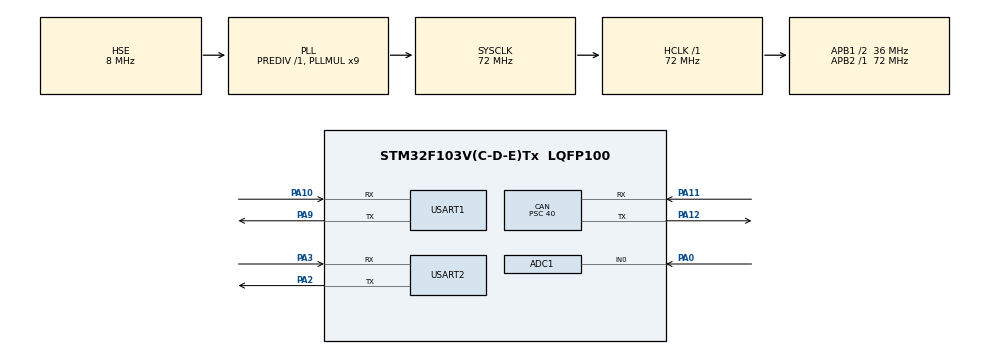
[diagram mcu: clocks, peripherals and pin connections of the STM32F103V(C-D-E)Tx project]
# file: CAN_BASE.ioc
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ADC1.Channel-0\#ChannelRegularConversion=ADC_CHANNEL_0
ADC1.Channel-1\#ChannelRegularConversion=ADC_CHANNEL_0
ADC1.NbrOfConversion=2
ADC1.NbrOfConversionFlag=1
ADC1.Rank-0\#ChannelRegularConversion=1
ADC1.Rank-1\#ChannelRegularConversion=2
ADC1.SamplingTime-0\#ChannelRegularConversion=ADC_SAMPLETIME_1CYCLE_5
ADC1.SamplingTime-1\#ChannelRegularConversion=ADC_SAMPLETIME_1CYCLE_5
ADC1.master=1
CAN.ABOM=ENABLE
CAN.BS1=CAN_BS1_6TQ
CAN.BS2=CAN_BS2_2TQ
CAN.CalculateTimeBit=10000
CAN.CalculateTimeQuantum=1111.111111111111
CAN.Prescaler=40
Mcu.Family=STM32F1
Mcu.Name=STM32F103V(C-D-E)Tx
Mcu.Package=LQFP100
NVIC.PriorityGroup=NVIC_PRIORITYGROUP_4
NVIC.TIM2_IRQn=true\:0\:0\:false\:false\:true\:true\:true
NVIC.USART1_IRQn=true\:0\:0\:false\:false\:true\:true\:true
NVIC.USART2_IRQn=true\:0\:0\:false\:false\:true\:true\:true
NVIC.USB_LP_CAN1_RX0_IRQn=true\:0\:0\:false\:false\:true\:true\:true
OSC_IN.Mode=HSE-External-Oscillator
OSC_IN.Signal=RCC_OSC_IN
OSC_OUT.Mode=HSE-External-Oscillator
OSC_OUT.Signal=RCC_OSC_OUT
PA0-WKUP.Signal=ADCx_IN0
PA10.Mode=Asynchronous
PA10.Signal=USART1_RX
PA11.Mode=Master
PA11.Signal=CAN_RX
PA12.Mode=Master
PA12.Signal=CAN_TX
PA13.Mode=Serial_Wire
PA13.Signal=SYS_JTMS-SWDIO
PA14.Mode=Serial_Wire
PA14.Signal=SYS_JTCK-SWCLK
PA2.Mode=Asynchronous
PA2.Signal=USART2_TX
PA3.Mode=Asynchronous
PA3.Signal=USART2_RX
PA9.Mode=Asynchronous
PA9.Signal=USART1_TX
PC14-OSC32_IN.Mode=LSE-External-Oscillator
PC14-OSC32_IN.Signal=RCC_OSC32_IN
PC15-OSC32_OUT.Mode=LSE-External-Oscillator
PC15-OSC32_OUT.Signal=RCC_OSC32_OUT
ProjectManager.HeapSize=0x200
ProjectManager.StackSize=0x1000
ProjectManager.TargetToolchain=MDK-ARM V5
RCC.ADCPresc=RCC_ADCPCLK2_DIV6
RCC.AHBFreq_Value=72000000
RCC.APB1CLKDivider=RCC_HCLK_DIV2
RCC.APB1Freq_Value=36000000
RCC.APB1TimFreq_Value=72000000
RCC.APB2Freq_Value=72000000
RCC.APB2TimFreq_Value=72000000
RCC.HCLKFreq_Value=72000000
RCC.PLLMUL=RCC_PLL_MUL9
RCC.PLLSourceVirtual=RCC_PLLSOURCE_HSE
RCC.SYSCLKFreq_VALUE=72000000
RCC.SYSCLKSource=RCC_SYSCLKSOURCE_PLLCLK
RCC.USBFreq_Value=72000000
SH.ADCx_IN0.0=ADC1_IN0,IN0
TIM2.Period=1151
TIM2.Prescaler=15999
USART1.VirtualMode=VM_ASYNC
USART2.VirtualMode=VM_ASYNC
VP_TIM2_VS_ClockSourceINT.Mode=Internal
board=custom

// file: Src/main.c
/* USER CODE BEGIN Header */
/**
  ******************************************************************************
  * @file           : main.c
  * @brief          : Main program body
  ******************************************************************************
  ** This notice applies to any and all portions of this file
  * that are not between comment pairs USER CODE BEGIN and
  * USER CODE END. Other portions of this file, whether
  * inserted by the user or by software development tools
  * are owned by their respective copyright owners.
  *
  * COPYRIGHT(c) 2019 STMicroelectronics
  *
  * Redistribution and use in source and binary forms, with or without modification,
  * are permitted provided that the following conditions are met:
  *   1. Redistributions of source code must retain the above copyright notice,
  *      this list of conditions and the following disclaimer.
  *   2. Redistributions in binary form must reproduce the above copyright notice,
  *      this list of conditions and the following disclaimer in the documentation
  *      and/or other materials provided with the distribution.
  *   3. Neither the name of STMicroelectronics nor the names of its contributors
  *      may be used to endorse or promote products derived from this software
  *      without specific prior written permission.
  *
  * THIS SOFTWARE IS PROVIDED BY THE COPYRIGHT HOLDERS AND CONTRIBUTORS "AS IS"
  * AND ANY EXPRESS OR IMPLIED WARRANTIES, INCLUDING, BUT NOT LIMITED TO, THE
  * IMPLIED WARRANTIES OF MERCHANTABILITY AND FITNESS FOR A PARTICULAR PURPOSE ARE
  * DISCLAIMED. IN NO EVENT SHALL THE COPYRIGHT HOLDER OR CONTRIBUTORS BE LIABLE
  * FOR ANY DIRECT, INDIRECT, INCIDENTAL, SPECIAL, EXEMPLARY, OR CONSEQUENTIAL
  * DAMAGES (INCLUDING, BUT NOT LIMITED TO, PROCUREMENT OF SUBSTITUTE GOODS OR
  * SERVICES; LOSS OF USE, DATA, OR PROFITS; OR BUSINESS INTERRUPTION) HOWEVER
  * CAUSED AND ON ANY THEORY OF LIABILITY, WHETHER IN CONTRACT, STRICT LIABILITY,
  * OR TORT (INCLUDING NEGLIGENCE OR OTHERWISE) ARISING IN ANY WAY OUT OF THE USE
  * OF THIS SOFTWARE, EVEN IF ADVISED OF THE POSSIBILITY OF SUCH DAMAGE.
  *
  ******************************************************************************
  */
/* USER CODE END Header */

#include "main.h"

/* USER CODE BEGIN Includes */
#include "user.h"
/* USER CODE END Includes */

ADC_HandleTypeDef hadc1;

CAN_HandleTypeDef hcan;
CAN_HandleTypeDef  hcan1;

TIM_HandleTypeDef htim2;

UART_HandleTypeDef huart1;
UART_HandleTypeDef huart2;

/* USER CODE BEGIN PV */
uint16_t vol=0;
float sensor_hum = 0; //湿度
float sensor_tem = 0; //温度
uint8_t  switching=0;
uint8_t  sensor_number=0;
uint16_t send_count=0;
uint16_t Can_STD_ID=0x06;
uint8_t  flag_send_data=0;
uint8_t Can_data[8]={0};
/* USER CODE END PV */

void SystemClock_Config(void);
static void MX_GPIO_Init(void);
static void MX_CAN_Init(void);
static void MX_ADC1_Init(void);
static void MX_USART1_UART_Init(void);
static void MX_USART2_UART_Init(void);
static void MX_TIM2_Init(void);

int main(void)
{

  /* MCU Configuration--------------------------------------------------------*/

  /* Reset of all peripherals, Initializes the Flash interface and the Systick. */
  HAL_Init();

  /* Configure the system clock */
  SystemClock_Config();

  /* Initialize all configured peripherals */
  MX_GPIO_Init();
	MAX3485_INIT();
  MX_CAN_Init();
  MX_ADC1_Init();
  MX_USART1_UART_Init();
  MX_USART2_UART_Init();
  MX_TIM2_Init();
  /* USER CODE BEGIN 2 */
  CAN_User_Init(&hcan);

  /*配置 begin ：
	1.指定模块的传感器类型为火焰传感器
	2.发送数据时采集CAN通信地址为0x06
	*/
  Sensor_Type_t=STMFLASH_ReadHalfWord(FLASH_Sensor_Type);	    //配置M3主控模块采集的传感器类型
  open_usart1_receive_interrupt();  //启动USART1串口中断
  can_start(); //启动CAN总线

  /*配置 end*/

  open_usart1_receive_interrupt();  //启动USART1串口中断
  can_start(); //启动CAN总线
  /* USER CODE END 2 */

  /* Infinite loop */
  /* USER CODE BEGIN WHILE */
     printf("=======GATAWAY START =====\r\n");
  while (1)
  {

		vol=Get_Voltage();//火焰

    /*每间隔1.5秒发送一次火焰传感器数据 begin*/

    /*添加对ZigBee数据转发的处理 end*/

    Can_Send_Msg_StdId(Can_STD_ID,8,Sensor_Type_t);

		HAL_Delay(1500);
    /* USER CODE END WHILE */
		/*if(1)
		{
			switch(vol)
			{
				case Value_ADC:                                    //光照 空气 火焰 可燃气体
					sensor_number=1;
					vol=Get_Voltage();
				  printf("vol=Get_Voltage  ===== %x \r\n",vol);
					break;
				case Value_Switch:				                         //人体 红外 声音
					sensor_number=1;
					switching=Switching_Value();
					printf("switching=Switching_Value== %d \r\n",switching);
					break;
				default:
					break;
			}
			//CAN节点发送传感器数据至CAN总线
            Can_Send_Msg_StdId(Can_STD_ID,8,Sensor_Type_t);
		}

        HAL_Delay(1500);    //不可删除，否则造成发送数据量过大，导致网关接收占用太多资源

		//USART1 通过M3主控模块配置工具配置采集传感器类型 或 或者CAN发送标准帧ID （注标准帧不能超过0 to 0x7FF）
		*/
		if(!usart1_data_fifo_is_empty())
		{
			HAL_Delay(100);
			process_up();
		}
    /* USER CODE BEGIN 3 */

    /* USER CODE BEGIN 3 */
  }
  /* USER CODE END 3 */
}

void SystemClock_Config(void)
{
  RCC_OscInitTypeDef RCC_OscInitStruct = {0};
  RCC_ClkInitTypeDef RCC_ClkInitStruct = {0};
  RCC_PeriphCLKInitTypeDef PeriphClkInit = {0};

  /**Initializes the CPU, AHB and APB busses clocks
  */
  RCC_OscInitStruct.OscillatorType = RCC_OSCILLATORTYPE_HSE;
  RCC_OscInitStruct.HSEState = RCC_HSE_ON;
  RCC_OscInitStruct.HSEPredivValue = RCC_HSE_PREDIV_DIV1;
  RCC_OscInitStruct.HSIState = RCC_HSI_ON;
  RCC_OscInitStruct.PLL.PLLState = RCC_PLL_ON;
  RCC_OscInitStruct.PLL.PLLSource = RCC_PLLSOURCE_HSE;
  RCC_OscInitStruct.PLL.PLLMUL = RCC_PLL_MUL9;
  if (HAL_RCC_OscConfig(&RCC_OscInitStruct) != HAL_OK)
  {
    Error_Handler();
  }
  /**Initializes the CPU, AHB and APB busses clocks
  */
  RCC_ClkInitStruct.ClockType = RCC_CLOCKTYPE_HCLK|RCC_CLOCKTYPE_SYSCLK
                              |RCC_CLOCKTYPE_PCLK1|RCC_CLOCKTYPE_PCLK2;
  RCC_ClkInitStruct.SYSCLKSource = RCC_SYSCLKSOURCE_PLLCLK;
  RCC_ClkInitStruct.AHBCLKDivider = RCC_SYSCLK_DIV1;
  RCC_ClkInitStruct.APB1CLKDivider = RCC_HCLK_DIV2;
  RCC_ClkInitStruct.APB2CLKDivider = RCC_HCLK_DIV1;

  if (HAL_RCC_ClockConfig(&RCC_ClkInitStruct, FLASH_LATENCY_2) != HAL_OK)
  {
    Error_Handler();
  }
  PeriphClkInit.PeriphClockSelection = RCC_PERIPHCLK_ADC;
  PeriphClkInit.AdcClockSelection = RCC_ADCPCLK2_DIV6;
  if (HAL_RCCEx_PeriphCLKConfig(&PeriphClkInit) != HAL_OK)
  {
    Error_Handler();
  }
}

static void MX_ADC1_Init(void)
{

  ADC_ChannelConfTypeDef sConfig = {0};

  /**Common config
  */
  hadc1.Instance = ADC1;
  hadc1.Init.ScanConvMode = ADC_SCAN_ENABLE;
  hadc1.Init.ContinuousConvMode = DISABLE;
  hadc1.Init.DiscontinuousConvMode = DISABLE;
  hadc1.Init.ExternalTrigConv = ADC_SOFTWARE_START;
  hadc1.Init.DataAlign = ADC_DATAALIGN_RIGHT;
  hadc1.Init.NbrOfConversion = 2;
  if (HAL_ADC_Init(&hadc1) != HAL_OK)
  {
    Error_Handler();
  }
  /**Configure Regular Channel
  */
  sConfig.Channel = ADC_CHANNEL_0;
  sConfig.Rank = ADC_REGULAR_RANK_1;
  sConfig.SamplingTime = ADC_SAMPLETIME_1CYCLE_5;
  if (HAL_ADC_ConfigChannel(&hadc1, &sConfig) != HAL_OK)
  {
    Error_Handler();
  }
  /**Configure Regular Channel
  */
  sConfig.Rank = ADC_REGULAR_RANK_2;
  if (HAL_ADC_ConfigChannel(&hadc1, &sConfig) != HAL_OK)
  {
    Error_Handler();
  }

}

static void MX_CAN_Init(void)
{

  hcan.Instance = CAN1;
  hcan.Init.Prescaler = 40;
  hcan.Init.Mode = CAN_MODE_NORMAL;
  hcan.Init.SyncJumpWidth = CAN_SJW_1TQ;
  hcan.Init.TimeSeg1 = CAN_BS1_6TQ;
  hcan.Init.TimeSeg2 = CAN_BS2_2TQ;
  hcan.Init.TimeTriggeredMode = DISABLE;
  hcan.Init.AutoBusOff = ENABLE;
  hcan.Init.AutoWakeUp = DISABLE;
  hcan.Init.AutoRetransmission = DISABLE;
  hcan.Init.ReceiveFifoLocked = DISABLE;
  hcan.Init.TransmitFifoPriority = DISABLE;
  if (HAL_CAN_Init(&hcan) != HAL_OK)
  {
    Error_Handler();
  }

}

static void MX_TIM2_Init(void)
{

  TIM_ClockConfigTypeDef sClockSourceConfig = {0};
  TIM_MasterConfigTypeDef sMasterConfig = {0};

  htim2.Instance = TIM2;
  htim2.Init.Prescaler = 15999;
  htim2.Init.CounterMode = TIM_COUNTERMODE_UP;
  htim2.Init.Period = 1151;
  htim2.Init.ClockDivision = TIM_CLOCKDIVISION_DIV1;
  htim2.Init.AutoReloadPreload = TIM_AUTORELOAD_PRELOAD_DISABLE;
  if (HAL_TIM_Base_Init(&htim2) != HAL_OK)
  {
    Error_Handler();
  }
  sClockSourceConfig.ClockSource = TIM_CLOCKSOURCE_INTERNAL;
  if (HAL_TIM_ConfigClockSource(&htim2, &sClockSourceConfig) != HAL_OK)
  {
    Error_Handler();
  }
  sMasterConfig.MasterOutputTrigger = TIM_TRGO_RESET;
  sMasterConfig.MasterSlaveMode = TIM_MASTERSLAVEMODE_DISABLE;
  if (HAL_TIMEx_MasterConfigSynchronization(&htim2, &sMasterConfig) != HAL_OK)
  {
    Error_Handler();
  }

}

static void MX_USART1_UART_Init(void)
{

  huart1.Instance = USART1;
  huart1.Init.BaudRate = 115200;
  huart1.Init.WordLength = UART_WORDLENGTH_8B;
  huart1.Init.StopBits = UART_STOPBITS_1;
  huart1.Init.Parity = UART_PARITY_NONE;
  huart1.Init.Mode = UART_MODE_TX_RX;
  huart1.Init.HwFlowCtl = UART_HWCONTROL_NONE;
  huart1.Init.OverSampling = UART_OVERSAMPLING_16;
  if (HAL_UART_Init(&huart1) != HAL_OK)
  {
    Error_Handler();
  }

}

static void MX_USART2_UART_Init(void)
{

  huart2.Instance = USART2;
  huart2.Init.BaudRate = 115200;
  huart2.Init.WordLength = UART_WORDLENGTH_8B;
  huart2.Init.StopBits = UART_STOPBITS_1;
  huart2.Init.Parity = UART_PARITY_NONE;
  huart2.Init.Mode = UART_MODE_TX_RX;
  huart2.Init.HwFlowCtl = UART_HWCONTROL_NONE;
  huart2.Init.OverSampling = UART_OVERSAMPLING_16;
  if (HAL_UART_Init(&huart2) != HAL_OK)
  {
    Error_Handler();
  }

}

static void MX_GPIO_Init(void)
{

  /* GPIO Ports Clock Enable */
  __HAL_RCC_GPIOC_CLK_ENABLE();
  __HAL_RCC_GPIOA_CLK_ENABLE();

}

/* USER CODE BEGIN 4 */
//当产生串口中断后，最终会跳到这
void HAL_UART_RxCpltCallback(UART_HandleTypeDef *huart)
{

    if(huart == &huart1)  //判断是哪个串口产生的中断
    {
        usart1_data_fifo_put(usart1RxBuf); //向USART1串口缓冲区写入数据
        HAL_UART_Receive_IT(&huart1, &usart1RxBuf, 1);
    }

    if(huart == &huart2)
    {
        usart2_data_fifo_put(usart2RxBuf); //向USART2串口缓冲区写入数据
        HAL_UART_Receive_IT(&huart2, &usart2RxBuf, 1);
    }
}

//当串口出错，跳转到此
void HAL_UART_ErrorCallback(UART_HandleTypeDef *huart)
{
    printf("UART Error:%x\r\n",huart->ErrorCode);  //报告错误编号
    huart->ErrorCode = HAL_UART_ERROR_NONE;

    if(huart == &huart1){
    HAL_UART_Receive_IT(&huart1, &usart1RxBuf, 1);  //重新打开USART1接收中断
    }

    if(huart == &huart2){
    HAL_UART_Receive_IT(&huart2, &usart2RxBuf, 1);  //重新打开USART2接收中断
    }

    /*添加对uart4的处理代码 begin*/

    /*添加对uart4的处理代码 end*/
}
/* USER CODE END 4 */

void Error_Handler(void)
{
}

/************************ (C) COPYRIGHT STMicroelectronics *****END OF FILE****/
